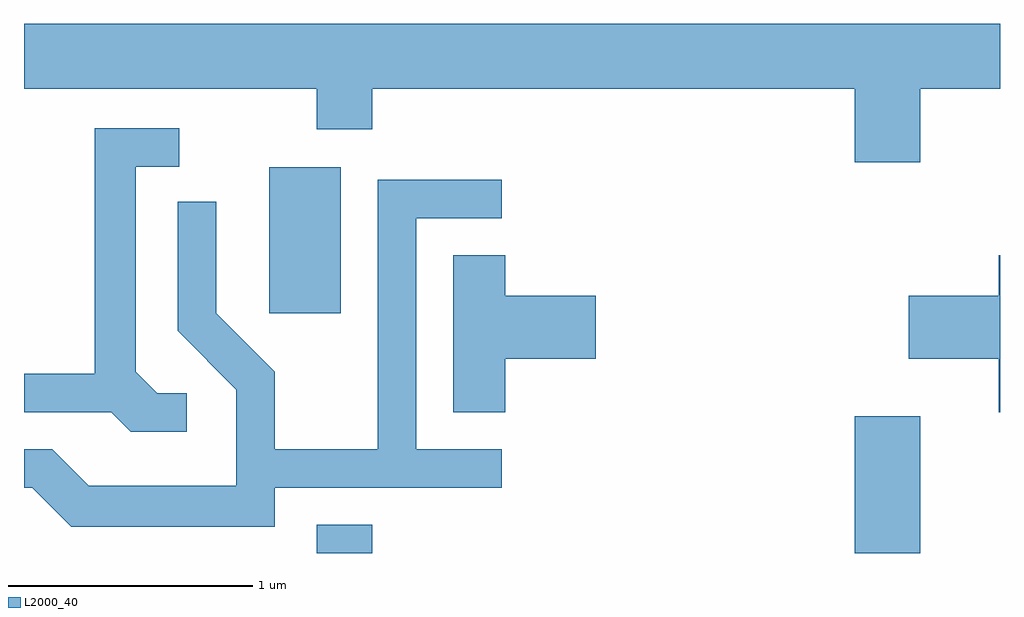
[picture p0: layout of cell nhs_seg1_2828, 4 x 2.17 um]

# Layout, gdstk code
import gdstk
lib = gdstk.Library(unit=1e-6, precision=1e-09)
def R(c, l, rs):  # rectangles x0, y0, x1, y1
    for r in rs: c.add(gdstk.rectangle(r[:2], r[2:], *l))
def P(c, l, *ps):  # polygons
    for p in ps: c.add(gdstk.Polygon(p, *l))
L2000_40 = (2000, 40)

nhs_seg1_2828 = lib.new_cell('nhs_seg1_2828')
R(nhs_seg1_2828, L2000_40, [(272.811,857.712,273.039,857.829), (275.016,857.712,275.284,858.274), (272.616,858.696,272.909,859.294)])
P(nhs_seg1_2828, L2000_40, [(275.284,859.616),(275.611,859.616),(275.611,859.884),(271.611,859.884),(271.611,859.616),(272.811,859.616),(272.811,859.451),(273.039,859.451),(273.039,859.616),(275.016,859.616),(275.016,859.316),(275.284,859.316)],
  [(272.278,858.369),(272.157,858.369),(272.069,858.457),(272.069,859.296),(272.248,859.296),(272.248,859.454),(271.901,859.454),(271.901,858.449),(271.611,858.449),(271.611,858.291),(271.969,858.291),(272.049,858.211),(272.278,858.211)],
  [(272.639,857.981),(273.568,857.981),(273.568,858.139),(273.219,858.139),(273.219,859.086),(273.568,859.086),(273.568,859.244),(273.061,859.244),(273.061,858.139),(272.639,858.139),(272.639,858.457),(272.399,858.697),(272.399,859.153),(272.241,859.153),(272.241,858.624),(272.481,858.384),(272.481,857.989),(271.877,857.989),(271.727,858.139),(271.611,858.139),(271.611,857.981),(271.644,857.981),(271.804,857.821),(272.639,857.821)],
  [(273.584,858.511),(273.954,858.511),(273.954,858.769),(273.584,858.769),(273.584,858.934),(273.371,858.934),(273.371,858.291),(273.584,858.291)],
  [(275.611,858.934),(275.606,858.934),(275.606,858.769),(275.236,858.769),(275.236,858.511),(275.606,858.511),(275.606,858.291),(275.611,858.291)])

lib.write_gds('nhs_seg1_2828.gds')
